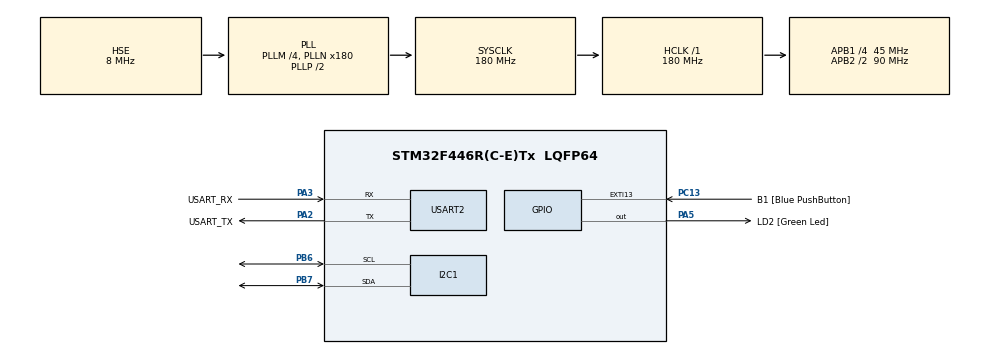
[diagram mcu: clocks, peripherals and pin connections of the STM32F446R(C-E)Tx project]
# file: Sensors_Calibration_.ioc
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I2C1.I2C_Mode=I2C_Fast
Mcu.Family=STM32F4
Mcu.Name=STM32F446R(C-E)Tx
Mcu.Package=LQFP64
NVIC.PriorityGroup=NVIC_PRIORITYGROUP_0
PA13.GPIO_Label=TMS
PA13.Mode=Serial_Wire
PA13.Signal=SYS_JTMS-SWDIO
PA14.GPIO_Label=TCK
PA14.Mode=Serial_Wire
PA14.Signal=SYS_JTCK-SWCLK
PA2.GPIO_Label=USART_TX
PA2.Mode=Asynchronous
PA2.Signal=USART2_TX
PA3.GPIO_Label=USART_RX
PA3.Mode=Asynchronous
PA3.Signal=USART2_RX
PA5.GPIO_Label=LD2 [Green Led]
PA5.Signal=GPIO_Output
PB3.GPIO_Label=SWO
PB3.Signal=SYS_JTDO-SWO
PB6.Mode=I2C
PB6.Signal=I2C1_SCL
PB7.Mode=I2C
PB7.Signal=I2C1_SDA
PC13.GPIO_Label=B1 [Blue PushButton]
PC13.GPIO_ModeDefaultEXTI=GPIO_MODE_IT_FALLING
PC13.Signal=GPXTI13
PC14-OSC32_IN.Mode=LSE-External-Oscillator
PC14-OSC32_IN.Signal=RCC_OSC32_IN
PC15-OSC32_OUT.Mode=LSE-External-Oscillator
PC15-OSC32_OUT.Signal=RCC_OSC32_OUT
PH0-OSC_IN.Mode=HSE-External-Oscillator
PH0-OSC_IN.Signal=RCC_OSC_IN
PH1-OSC_OUT.Mode=HSE-External-Oscillator
PH1-OSC_OUT.Signal=RCC_OSC_OUT
ProjectManager.HeapSize=0x200
ProjectManager.StackSize=0x400
ProjectManager.TargetToolchain=STM32CubeIDE
RCC.48MHZClocksFreq_Value=84000000
RCC.AHBFreq_Value=180000000
RCC.APB1CLKDivider=RCC_HCLK_DIV4
RCC.APB1Freq_Value=45000000
RCC.APB1TimFreq_Value=90000000
RCC.APB2CLKDivider=RCC_HCLK_DIV2
RCC.APB2Freq_Value=90000000
RCC.APB2TimFreq_Value=180000000
RCC.CortexFreq_Value=180000000
RCC.FLatency-AdvancedSettings=FLASH_LATENCY_5
RCC.HCLKFreq_Value=180000000
RCC.HSE_VALUE=8000000
RCC.HSI_VALUE=16000000
RCC.PLLM=4
RCC.PLLN=180
RCC.PLLSourceVirtual=RCC_PLLSOURCE_HSE
RCC.SYSCLKFreq_VALUE=180000000
RCC.SYSCLKSource=RCC_SYSCLKSOURCE_PLLCLK
RCC.USBFreq_Value=180000000
RCC.VCOOutputFreq_Value=360000000
USART2.VirtualMode=VM_ASYNC
board=NUCLEO-F446RE

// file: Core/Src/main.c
/* USER CODE BEGIN Header */
/**
 ******************************************************************************
 * @file           : main.c
 * @brief          : Main program body
 ******************************************************************************
 * @attention
 *
 * Copyright (c) 2025 STMicroelectronics.
 * All rights reserved.
 *
 * This software is licensed under terms that can be found in the LICENSE file
 * in the root directory of this software component.
 * If no LICENSE file comes with this software, it is provided AS-IS.
 *
 ******************************************************************************
 */
/* USER CODE END Header */
#include "main.h"

/* USER CODE BEGIN Includes */
#include <stdio.h>
#include <string.h>
#include <stdlib.h>
#include <math.h>
#include <stdbool.h>
/* USER CODE END Includes */

/* USER CODE BEGIN PD */
#define MPU6050_ADDR 0x68
#define PWR_MGMT_1_REG 0x6B
#define SMPLRT_DIV_REG 0x19
#define GYRO_CNFG_REG 0x1B
#define ACC_CNFG_REG 0x1C

#define HMC5883L_ADDRESS 0x1E

// HMC5883L register adresleri
#define HMC5883L_REG_CONFIG_A 0x00
#define HMC5883L_REG_CONFIG_B 0x01
#define HMC5883L_REG_MODE 0x02
#define HMC5883L_REG_DATA_X_MSB 0x03
/* USER CODE END PD */

I2C_HandleTypeDef hi2c1;

UART_HandleTypeDef huart2;

/* USER CODE BEGIN PV */

float offsetGyroX = 0, offsetGyroY = 0, offsetGyroZ = 0;

float scaleCorrectionFactorAccelX, scaleCorrectionFactorAccelY,
		scaleCorrectionFactorAccelZ;
float offsetAccelX, offsetAccelY, offsetAccelZ;

float scaleCorrectionFactorMagX, scaleCorrectionFactorMagY,
		scaleCorrectionFactorMagZ;
float offsetMagX, offsetMagY, offsetMagZ;

double roll;
double pitch;
double yaw;
double q[4];
// Kalibrasyon için sınır değerler
int16_t minMagX = 32767, maxMagX = -32768;
int16_t minMagY = 32767, maxMagY = -32768;
int16_t minMagZ = 32767, maxMagZ = -32768;

///
int eror = 0;
int state = 0;
///
/* USER CODE END PV */

void SystemClock_Config(void);
static void MX_GPIO_Init(void);
static void MX_USART2_UART_Init(void);
static void MX_I2C1_Init(void);
/* USER CODE BEGIN PFP */
void initMPU6050(void);
void readAccelMPU6050(int16_t *rawAccelX, int16_t *rawAccelY,
		int16_t *rawAccelZ);
void readGyroMPU6050(int16_t *rawGyroX, int16_t *rawGyroY, int16_t *rawGyroZ);
void CalibrationGyro(float *offsetGyroX, float *offsetGyroY, float *offsetGyroZ);
void getCalibratedGyro(int16_t rawGyroX, int16_t rawGyroY, int16_t rawGyroZ,
		float *calibratedGyroX, float *calibratedGyroY, float *calibratedGyroZ);
void CalibrationAccel(float *scaleCorrectionFactorX,
		float *scaleCorrectionFactorY, float *scaleCorrectionFactorZ,
		float *offsetX, float *offsetY, float *offsetZ);
void getCalibratedAccel(int16_t rawAccelX, int16_t rawAccelY, int16_t rawAccelZ,
		float *calibratedAccelX, float *calibratedAccelY,
		float *calibratedAccelZ);
void initHMC5883L(void);
void readHMC5883L(int16_t *rawMagX, int16_t *rawMagY, int16_t *rawMagZ);
void updateCalibrationMag(int16_t rawMagX, int16_t rawMagY, int16_t rawMagZ,
		int16_t *minMagX, int16_t *maxMagX, int16_t *minMagY, int16_t *maxMagY,
		int16_t *minMagZ, int16_t *maxMagZ);
void getCalibratedMag(int16_t rawMagX, int16_t rawMagY, int16_t rawMagZ,
		int16_t minMagX, int16_t maxMagX, int16_t minMagY, int16_t maxMagY,
		int16_t minMagZ, int16_t maxMagZ, float *calibratedMagX,
		float *calibratedMagY, float *calibratedMagZ);

void calculateRollPitchYaw(float accelX, float accelY, float accelZ, float magX, float magY, float magZ, double *rollRad, double *pitchRad, double *yawRad);
void eularToQuaternion( double rollRad, double pitchRad, double yawRad);
/* USER CODE END PFP */

int main(void) {

	/* MCU Configuration--------------------------------------------------------*/

	/* Reset of all peripherals, Initializes the Flash interface and the Systick. */
 	HAL_Init();

	/* Configure the system clock */
	SystemClock_Config();

	/* Initialize all configured peripherals */
	MX_GPIO_Init();
	MX_USART2_UART_Init();
	MX_I2C1_Init();
	/* USER CODE BEGIN 2 */
	initHMC5883L();
	initMPU6050();
	CalibrationGyro(&offsetGyroX, &offsetGyroY, &offsetGyroZ);
	CalibrationAccel(&scaleCorrectionFactorAccelX, &scaleCorrectionFactorAccelY,
			&scaleCorrectionFactorAccelZ, &offsetAccelX, &offsetAccelY,
			&offsetAccelZ);

	/* USER CODE END 2 */

	/* Infinite loop */
	/* USER CODE BEGIN WHILE */
	while (1) {
		//HAL_Delay(100);
		//HAL_GPIO_TogglePin(GPIOA, GPIO_PIN_5);
		///HAL_Delay(100);

		int16_t rawAccelX, rawAccelY, rawAccelZ;       // Ham ivmeölçer verileri
		float calibratedAccelX, calibratedAccelY, calibratedAccelZ; // Kalibre edilmiş ivmeölçer verileri

		int16_t rawGyroX, rawGyroY, rawGyroZ;           // Ham jiroskop verileri
		float calibratedGyroX, calibratedGyroY, calibratedGyroZ; // Kalibre edilmiş jiroskop verileri derece/saniye cinsinden

		int16_t rawMagX, rawMagY, rawMagZ;          // Ham manyetometre verileri
		float calibratedMagX, calibratedMagY, calibratedMagZ; // Kalibre edilmiş manyetometre verileri

		double rollRad, pitchRad, yawRad;

		readAccelMPU6050(&rawAccelX, &rawAccelY, &rawAccelZ);

		readGyroMPU6050(&rawGyroX, &rawGyroY, &rawGyroZ);

		getCalibratedAccel(rawAccelX, rawAccelY, rawAccelZ, &calibratedAccelX,
				&calibratedAccelY, &calibratedAccelZ);
		getCalibratedGyro(rawGyroX, rawGyroY, rawGyroZ, &calibratedGyroX,
				&calibratedGyroY, &calibratedGyroZ);

		// HMC5883L manyetometre verilerini oku
		readHMC5883L(&rawMagX, &rawMagY, &rawMagZ);

		// Kalibrasyon verilerini güncelle
		updateCalibrationMag(rawMagX, rawMagY, rawMagZ, &minMagX, &maxMagX,
				&minMagY, &maxMagY, &minMagZ, &maxMagZ);

		// Kalibre edilmiş değerleri hesapla
		getCalibratedMag(rawMagX, rawMagY, rawMagZ, minMagX, maxMagX, minMagY,
				maxMagY, minMagZ, maxMagZ, &calibratedMagX, &calibratedMagY,
				&calibratedMagZ);

		calculateRollPitchYaw(calibratedAccelX, calibratedAccelY,
				calibratedAccelZ, calibratedMagX, calibratedMagZ,
				calibratedMagY, &rollRad, &pitchRad, &yawRad);

		eularToQuaternion(rollRad, pitchRad, yawRad);

		/* USER CODE END WHILE */

	}
}

void SystemClock_Config(void) {
	RCC_OscInitTypeDef RCC_OscInitStruct = { 0 };
	RCC_ClkInitTypeDef RCC_ClkInitStruct = { 0 };

	/** Configure the main internal regulator output voltage
	 */
	__HAL_RCC_PWR_CLK_ENABLE();
	__HAL_PWR_VOLTAGESCALING_CONFIG(PWR_REGULATOR_VOLTAGE_SCALE1);

	/** Initializes the RCC Oscillators according to the specified parameters
	 * in the RCC_OscInitTypeDef structure.
	 */
	RCC_OscInitStruct.OscillatorType = RCC_OSCILLATORTYPE_HSE;
	RCC_OscInitStruct.HSEState = RCC_HSE_ON;
	RCC_OscInitStruct.PLL.PLLState = RCC_PLL_ON;
	RCC_OscInitStruct.PLL.PLLSource = RCC_PLLSOURCE_HSE;
	RCC_OscInitStruct.PLL.PLLM = 4;
	RCC_OscInitStruct.PLL.PLLN = 180;
	RCC_OscInitStruct.PLL.PLLP = RCC_PLLP_DIV2;
	RCC_OscInitStruct.PLL.PLLQ = 2;
	RCC_OscInitStruct.PLL.PLLR = 2;
	if (HAL_RCC_OscConfig(&RCC_OscInitStruct) != HAL_OK) {
		Error_Handler();
	}

	/** Activate the Over-Drive mode
	 */
	if (HAL_PWREx_EnableOverDrive() != HAL_OK) {
		Error_Handler();
	}

	/** Initializes the CPU, AHB and APB buses clocks
	 */
	RCC_ClkInitStruct.ClockType = RCC_CLOCKTYPE_HCLK | RCC_CLOCKTYPE_SYSCLK
			| RCC_CLOCKTYPE_PCLK1 | RCC_CLOCKTYPE_PCLK2;
	RCC_ClkInitStruct.SYSCLKSource = RCC_SYSCLKSOURCE_PLLCLK;
	RCC_ClkInitStruct.AHBCLKDivider = RCC_SYSCLK_DIV1;
	RCC_ClkInitStruct.APB1CLKDivider = RCC_HCLK_DIV4;
	RCC_ClkInitStruct.APB2CLKDivider = RCC_HCLK_DIV2;

	if (HAL_RCC_ClockConfig(&RCC_ClkInitStruct, FLASH_LATENCY_5) != HAL_OK) {
		Error_Handler();
	}
}

static void MX_I2C1_Init(void) {

	hi2c1.Instance = I2C1;
	hi2c1.Init.ClockSpeed = 400000;
	hi2c1.Init.DutyCycle = I2C_DUTYCYCLE_2;
	hi2c1.Init.OwnAddress1 = 0;
	hi2c1.Init.AddressingMode = I2C_ADDRESSINGMODE_7BIT;
	hi2c1.Init.DualAddressMode = I2C_DUALADDRESS_DISABLE;
	hi2c1.Init.OwnAddress2 = 0;
	hi2c1.Init.GeneralCallMode = I2C_GENERALCALL_DISABLE;
	hi2c1.Init.NoStretchMode = I2C_NOSTRETCH_DISABLE;
	if (HAL_I2C_Init(&hi2c1) != HAL_OK) {
		Error_Handler();
	}

}

static void MX_USART2_UART_Init(void) {

	huart2.Instance = USART2;
	huart2.Init.BaudRate = 115200;
	huart2.Init.WordLength = UART_WORDLENGTH_8B;
	huart2.Init.StopBits = UART_STOPBITS_1;
	huart2.Init.Parity = UART_PARITY_NONE;
	huart2.Init.Mode = UART_MODE_TX_RX;
	huart2.Init.HwFlowCtl = UART_HWCONTROL_NONE;
	huart2.Init.OverSampling = UART_OVERSAMPLING_16;
	if (HAL_UART_Init(&huart2) != HAL_OK) {
		Error_Handler();
	}

}

static void MX_GPIO_Init(void) {
	GPIO_InitTypeDef GPIO_InitStruct = { 0 };

	/* GPIO Ports Clock Enable */
	__HAL_RCC_GPIOC_CLK_ENABLE();
	__HAL_RCC_GPIOH_CLK_ENABLE();
	__HAL_RCC_GPIOA_CLK_ENABLE();
	__HAL_RCC_GPIOB_CLK_ENABLE();

	/*Configure GPIO pin Output Level */
	HAL_GPIO_WritePin(LD2_GPIO_Port, LD2_Pin, GPIO_PIN_RESET);

	/*Configure GPIO pin : B1_Pin */
	GPIO_InitStruct.Pin = B1_Pin;
	GPIO_InitStruct.Mode = GPIO_MODE_IT_FALLING;
	GPIO_InitStruct.Pull = GPIO_NOPULL;
	HAL_GPIO_Init(B1_GPIO_Port, &GPIO_InitStruct);

	/*Configure GPIO pin : LD2_Pin */
	GPIO_InitStruct.Pin = LD2_Pin;
	GPIO_InitStruct.Mode = GPIO_MODE_OUTPUT_PP;
	GPIO_InitStruct.Pull = GPIO_NOPULL;
	GPIO_InitStruct.Speed = GPIO_SPEED_FREQ_LOW;
	HAL_GPIO_Init(LD2_GPIO_Port, &GPIO_InitStruct);

}

/* USER CODE BEGIN 4 */
void initMPU6050(void) {
	//int eror = 0;
	uint8_t buffer;
	//MPU6050 Uyku modundan çık ve başlat
	buffer = 0x00;
	if (HAL_I2C_Mem_Write(&hi2c1, MPU6050_ADDR << 1, PWR_MGMT_1_REG, 1, &buffer,
			1,
			HAL_MAX_DELAY) != HAL_OK) {
		eror = 1;
		Error_Handler();
	}

	// GYRO CNFG --> +-500 derece/saniye -->08
	buffer = 0x08;
	if (HAL_I2C_Mem_Write(&hi2c1, MPU6050_ADDR << 1, GYRO_CNFG_REG, 1, &buffer,
			1,
			HAL_MAX_DELAY) != HAL_OK) {
		eror = 2;
		Error_Handler();
	}

	// ACC CNFG --> +-8g -->10
	buffer = 0x10;
	if (HAL_I2C_Mem_Write(&hi2c1, MPU6050_ADDR << 1, ACC_CNFG_REG, 1, &buffer,
			1,
			HAL_MAX_DELAY) != HAL_OK) {
		eror = 3;
		Error_Handler();
	}

}
void readAccelMPU6050(int16_t *rawAccelX, int16_t *rawAccelY,
		int16_t *rawAccelZ) {

	uint8_t bufferAccel[6];
	// belirttiğim adresten itibaren veri bana gönder emri
	bufferAccel[0] = 0x3B;
	HAL_I2C_Master_Transmit(&hi2c1, MPU6050_ADDR << 1, bufferAccel, 1,
	HAL_MAX_DELAY);
	// 6 tane byte al
	HAL_I2C_Master_Receive(&hi2c1, MPU6050_ADDR << 1, bufferAccel, 6,
	HAL_MAX_DELAY);

	*rawAccelX = (bufferAccel[0] << 8 | bufferAccel[1]);
	*rawAccelY = (bufferAccel[2] << 8 | bufferAccel[3]);
	*rawAccelZ = (bufferAccel[4] << 8 | bufferAccel[5]);

}
void readGyroMPU6050(int16_t *rawGyroX, int16_t *rawGyroY, int16_t *rawGyroZ) {
	// belirttiğim adresten itibaren veri bana gönder emri
	uint8_t bufferGyro[6];
	bufferGyro[0] = 0x43;
	HAL_I2C_Master_Transmit(&hi2c1, MPU6050_ADDR << 1, bufferGyro, 1,
	HAL_MAX_DELAY);
	// 6 tane byte al
	HAL_I2C_Master_Receive(&hi2c1, MPU6050_ADDR << 1, bufferGyro, 6,
	HAL_MAX_DELAY);

	*rawGyroX = (bufferGyro[0] << 8 | bufferGyro[1]);
	*rawGyroY = (bufferGyro[2] << 8 | bufferGyro[3]);
	*rawGyroZ = (bufferGyro[4] << 8 | bufferGyro[5]);
}

void CalibrationGyro(float *offsetGyroX, float *offsetGyroY, float *offsetGyroZ) {

	int16_t rawGyroX, rawGyroY, rawGyroZ;
	for (int i = 0; i < 4000; i++) {

		readGyroMPU6050(&rawGyroX, &rawGyroY, &rawGyroZ);
		*offsetGyroX += rawGyroX;
		*offsetGyroY += rawGyroY;
		*offsetGyroZ += rawGyroZ;

		HAL_Delay(1);
	}
	*offsetGyroX /= 4000.0;
	*offsetGyroY /= 4000.0;
	*offsetGyroZ /= 4000.0;
}
void getCalibratedGyro(int16_t rawGyroX, int16_t rawGyroY, int16_t rawGyroZ,
		float *calibratedGyroX, float *calibratedGyroY, float *calibratedGyroZ) {

	*calibratedGyroX = (rawGyroX - offsetGyroX) / 65.5f; // /65.5 derece/saniye cinsinden dönüşümü için gerekli adım
	*calibratedGyroY = (rawGyroY - offsetGyroY) / 65.5f;
	*calibratedGyroZ = (rawGyroZ - offsetGyroZ) / 65.5f;
}
void CalibrationAccel(float *scaleCorrectionFactorX,
		float *scaleCorrectionFactorY, float *scaleCorrectionFactorZ,
		float *offsetX, float *offsetY, float *offsetZ) {

	// Zamanlama
	uint32_t LoopTimer;

	int16_t minAccelX = 32767, maxAccelX = -32768;
	int16_t minAccelY = 32767, maxAccelY = -32768;
	int16_t minAccelZ = 32767, maxAccelZ = -32768;

	int16_t rawX, rawY, rawZ;
	LoopTimer = HAL_GetTick();
	state = 1;
	while (HAL_GetTick() - LoopTimer < 4000)
		;  // Bekle
	state = 2;

	for (int i = 0; i < 4000; i++) {
		readAccelMPU6050(&rawX, &rawY, &rawZ);
		if (rawX > maxAccelX)
			maxAccelX = rawX;
		if (rawX < minAccelX)
			minAccelX = rawX;

		HAL_Delay(1);
	}
	LoopTimer = HAL_GetTick();
	state = 3;

	while (HAL_GetTick() - LoopTimer < 4000)
		;  //Bekle
	state = 4;
	for (int i = 0; i < 4000; i++) {
		readAccelMPU6050(&rawX, &rawY, &rawZ);
		if (rawX > maxAccelX)
			maxAccelX = rawX;
		if (rawX < minAccelX)
			minAccelX = rawX;

		HAL_Delay(1);
	}
	LoopTimer = HAL_GetTick();
	state = 5;

	while (HAL_GetTick() - LoopTimer < 4000)
		;  //Bekle
	state = 6;
	for (int i = 0; i < 4000; i++) {
		readAccelMPU6050(&rawX, &rawY, &rawZ);
		if (rawY > maxAccelY)
			maxAccelY = rawY;
		if (rawY < minAccelY)
			minAccelY = rawY;

		HAL_Delay(1);
	}
	LoopTimer = HAL_GetTick();
	state = 7;

	while (HAL_GetTick() - LoopTimer < 4000)
		;  //Bekle
	state = 8;
	for (int i = 0; i < 4000; i++) {
		readAccelMPU6050(&rawX, &rawY, &rawZ);
		if (rawY > maxAccelY)
			maxAccelY = rawY;
		if (rawY < minAccelY)
			minAccelY = rawY;

		HAL_Delay(1);
	}
	LoopTimer = HAL_GetTick();
	state = 9;

	while (HAL_GetTick() - LoopTimer < 4000)
		;  //Bekle
	state = 10;
	for (int i = 0; i < 4000; i++) {
		readAccelMPU6050(&rawX, &rawY, &rawZ);
		if (rawZ > maxAccelZ)
			maxAccelZ = rawZ;
		if (rawZ < minAccelZ)
			minAccelZ = rawZ;

		HAL_Delay(1);
	}
	LoopTimer = HAL_GetTick();
	state = 11;

	while (HAL_GetTick() - LoopTimer < 4000)
		;  //Bekle
	state = 12;
	for (int i = 0; i < 4000; i++) {
		readAccelMPU6050(&rawX, &rawY, &rawZ);
		if (rawZ > maxAccelZ)
			maxAccelZ = rawZ;
		if (rawZ < minAccelZ)
			minAccelZ = rawZ;

		HAL_Delay(1);
	}

	// Offset hesapla (Hard Iron Düzeltmesi)
	*offsetX = (maxAccelX + minAccelX) / 2.0;
	*offsetY = (maxAccelY + minAccelY) / 2.0;
	*offsetZ = (maxAccelZ + minAccelZ) / 2.0;

	// Ölçek hesapla (Soft Iron Düzeltmesi)
	float scaleX = (maxAccelX - minAccelX) / 2.0;
	float scaleY = (maxAccelY - minAccelY) / 2.0;
	float scaleZ = (maxAccelZ - minAccelZ) / 2.0;
	float avgScale = (scaleX + scaleY + scaleZ) / 3.0;

	// ölçek düzeltme faktör değerleri hesapla
	*scaleCorrectionFactorX = avgScale / scaleX;
	*scaleCorrectionFactorY = avgScale / scaleY;
	*scaleCorrectionFactorZ = avgScale / scaleZ;

	state = 0;

}

// Kalibre edilmiş ivmeölçer değerlerini hesapla
void getCalibratedAccel(int16_t rawAccelX, int16_t rawAccelY, int16_t rawAccelZ,
		float *calibratedAccelX, float *calibratedAccelY,
		float *calibratedAccelZ) {

	// Kalibre edilmiş değerleri hesapla
	*calibratedAccelX = (rawAccelX - offsetAccelX)
			* scaleCorrectionFactorAccelX;
	*calibratedAccelY = (rawAccelY - offsetAccelY)
			* scaleCorrectionFactorAccelY;
	*calibratedAccelZ = (rawAccelZ - offsetAccelZ)
			* scaleCorrectionFactorAccelZ;

}

// // HMC5883L ayarları
void initHMC5883L(void) {

	//int eror = 0;
	uint8_t buffer;
	// Mag CNFG -->  Config A register adresi --> HMC5883L_REG_CONFIG_A ---- Örnekleme oranı: 8G range, 200Hz ölçüm modu -->  0x1C
	buffer = 0x1C;
	if (HAL_I2C_Mem_Write(&hi2c1, HMC5883L_ADDRESS << 1, HMC5883L_REG_CONFIG_A, 1, &buffer, 1,
	HAL_MAX_DELAY) != HAL_OK) {
		eror = 4;
		Error_Handler();
	}

	// Mag CNFG --> Config B register adresi --> HMC5883L_REG_CONFIG_B ---- Kazanç ayarı: ±1.3 Ga --> 0xA0
	buffer = 0xA0;
	if (HAL_I2C_Mem_Write(&hi2c1, HMC5883L_ADDRESS << 1, HMC5883L_REG_CONFIG_B, 1, &buffer, 1,
	HAL_MAX_DELAY) != HAL_OK) {
		eror = 5;
		Error_Handler();
	}

	// Mag CNFG --> Mode register adresi --> HMC5883L_REG_MODE ---- Sürekli ölçüm modu --> 0x00
	buffer = 0x00;
	if (HAL_I2C_Mem_Write(&hi2c1, HMC5883L_ADDRESS << 1, HMC5883L_REG_MODE, 1, &buffer, 1,
	HAL_MAX_DELAY) != HAL_OK) {
		eror = 6;
		Error_Handler();
	}

}

// HMC5883L manyetometre verilerini oku
void readHMC5883L(int16_t *rawMagX, int16_t *rawMagY, int16_t *rawMagZ) {
	// belirttiğim adresten itibaren veri bana gönder emri --- HMC5883L_REG_DATA_X_MSB = X ekseni MSB register adresi
	uint8_t bufferMag[6];
	bufferMag[0] = HMC5883L_REG_DATA_X_MSB;
	HAL_I2C_Master_Transmit(&hi2c1, HMC5883L_ADDRESS << 1, bufferMag, 1,
	HAL_MAX_DELAY);
	// 6 tane byte al
	HAL_I2C_Master_Receive(&hi2c1, HMC5883L_ADDRESS << 1, bufferMag, 6,
	HAL_MAX_DELAY);

	*rawMagX = (bufferMag[0] << 8 | bufferMag[1]);
	*rawMagY = (bufferMag[2] << 8 | bufferMag[3]);
	*rawMagZ = (bufferMag[4] << 8 | bufferMag[5]);
}

//  manyetometre kalibrasyon verilerini güncelle
void updateCalibrationMag(int16_t rawMagX, int16_t rawMagY, int16_t rawMagZ,
		int16_t *minMagX, int16_t *maxMagX, int16_t *minMagY, int16_t *maxMagY,
		int16_t *minMagZ, int16_t *maxMagZ) {
	if (rawMagX < *minMagX)
		*minMagX = rawMagX;
	if (rawMagX > *maxMagX)
		*maxMagX = rawMagX;
	if (rawMagY < *minMagY)
		*minMagY = rawMagY;
	if (rawMagY > *maxMagY)
		*maxMagY = rawMagY;
	if (rawMagZ < *minMagZ)
		*minMagZ = rawMagZ;
	if (rawMagZ > *maxMagZ)
		*maxMagZ = rawMagZ;
}

// Kalibre edilmiş Manyetometre değerlerini hesapla
void getCalibratedMag(int16_t rawMagX, int16_t rawMagY, int16_t rawMagZ,
		int16_t minMagX, int16_t maxMagX, int16_t minMagY, int16_t maxMagY,
		int16_t minMagZ, int16_t maxMagZ, float *calibratedMagX,
		float *calibratedMagY, float *calibratedMagZ) {
	// Offset hesapla (Hard Iron Düzeltmesi)
	offsetMagX = (maxMagX + minMagX) / 2.0;
	offsetMagY = (maxMagY + minMagY) / 2.0;
	offsetMagZ = (maxMagZ + minMagZ) / 2.0;

	// Ölçek hesapla (Soft Iron Düzeltmesi)
	float scaleX = (maxMagX - minMagX) / 2.0;
	float scaleY = (maxMagY - minMagY) / 2.0;
	float scaleZ = (maxMagZ - minMagZ) / 2.0;
	float avgScale = (scaleX + scaleY + scaleZ) / 3.0;

	scaleCorrectionFactorMagX = (avgScale / scaleX);
	scaleCorrectionFactorMagY = (avgScale / scaleY);
	scaleCorrectionFactorMagZ = (avgScale / scaleZ);

	// Kalibre edilmiş değerleri hesapla
	*calibratedMagX = (rawMagX - offsetMagX) * scaleCorrectionFactorMagX;
	*calibratedMagY = (rawMagY - offsetMagY) * scaleCorrectionFactorMagY;
	*calibratedMagZ = (rawMagZ - offsetMagZ) * scaleCorrectionFactorMagZ;

}

// Eğim telafisi (Tilt Compensation), pitch, roll ve Yaw hesaplama
void calculateRollPitchYaw(float accelX, float accelY, float accelZ, float magX, float magY, float magZ, double *rollRad, double *pitchRad, double *yawRad) {

	// değerleri normalleştir
	double normAccel =  sqrt(accelX*accelX + accelY*accelY + accelZ*accelZ);
	double	ax = accelX/normAccel;
	double	ay = accelY/normAccel;
	double	az = accelZ/normAccel;

	double normMag =  sqrt(magX*magX + magY*magY + magZ*magZ);
	double	mx = magX/normMag;
	double	my = magY/normMag;
	double	mz = magZ/normMag;
	/// Roll ve Pitch açılarını hesapla (Radyan)
	*rollRad = atan2(ay,sqrt(ax * ax + az * az));
	*pitchRad = atan2(-ax,sqrt(ay * ay + az * az)); //radyan cinsinden

	//Tilt Combinsation (Eğim telafisi hesapla)
	double bx = mx * cos(*pitchRad) + mz * sin(*pitchRad);
	double by = mx * sin(*rollRad) * sin(*pitchRad)+my * cos(*rollRad)-mz * sin(*rollRad) * cos(*pitchRad);

	//double bx = mx * cos(*rollRad) + sin(*rollRad)*(my * sin(*pitchRad) + mz * cos(*pitchRad));
	//double by = mz * sin(*pitchRad) - my * cos(*pitchRad);

	// X ve Y eksenlerinden Yaw (heading/azimut) açısını hesapla
	*yawRad = atan2(-by, -bx);

	roll = *rollRad* 180.0 / 3.141592654;
	pitch = *pitchRad* 180.0 / 3.141592654;
	yaw = *yawRad* 180.0 / 3.141592654;
	if (yaw < 0)
		yaw += 360;  // 0-360 derece aralığına taşı
}

void eularToQuaternion( double rollRad, double pitchRad, double yawRad){

	double sinPitch2 = sin(rollRad/2.0);
	double sinRoll2 = sin(rollRad/2.0);
	double sinYaw2 = sin(rollRad/2.0);

	double cosPitch2 = cos(rollRad/2.0);
	double cosRoll2 = cos(rollRad/2.0);
	double cosYaw2 = cos(rollRad/2.0);

	q[0]= cosPitch2*cosRoll2*cosYaw2 + sinPitch2*sinRoll2*sinYaw2;
	q[1]= sinPitch2*cosRoll2*cosYaw2 - cosPitch2*sinRoll2*sinYaw2;
	q[2]= cosPitch2*sinRoll2*cosYaw2 + sinPitch2*cosRoll2*sinYaw2;
	q[3]= cosPitch2*cosRoll2*sinYaw2 - sinPitch2*sinRoll2*cosYaw2;

}

/* USER CODE END 4 */

void Error_Handler(void) {
	__disable_irq();
	while (1) {
	}
}
